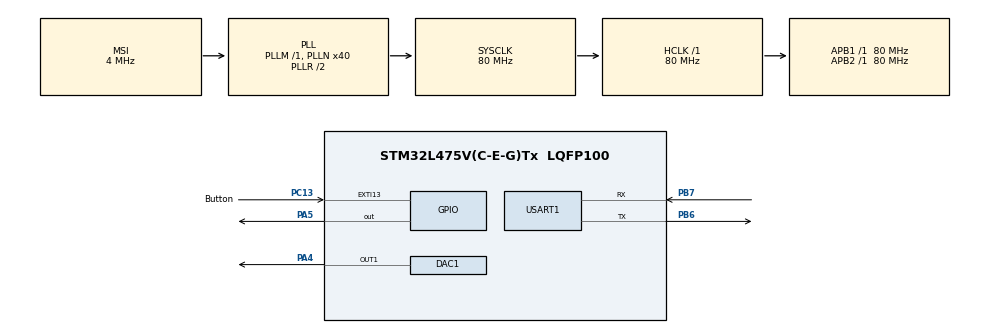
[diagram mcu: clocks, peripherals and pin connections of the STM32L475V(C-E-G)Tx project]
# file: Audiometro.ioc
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DAC1.DAC_Trigger-DAC_OUT1=DAC_TRIGGER_T4_TRGO
Dma.DAC_CH1.0.Direction=DMA_MEMORY_TO_PERIPH
Dma.DAC_CH1.0.Instance=DMA1_Channel3
Dma.DAC_CH1.0.MemDataAlignment=DMA_MDATAALIGN_HALFWORD
Dma.DAC_CH1.0.MemInc=DMA_MINC_ENABLE
Dma.DAC_CH1.0.Mode=DMA_CIRCULAR
Dma.DAC_CH1.0.PeriphDataAlignment=DMA_PDATAALIGN_HALFWORD
Dma.DAC_CH1.0.PeriphInc=DMA_PINC_DISABLE
Dma.DAC_CH1.0.Priority=DMA_PRIORITY_LOW
Dma.Request0=DAC_CH1
Mcu.Family=STM32L4
Mcu.Name=STM32L475V(C-E-G)Tx
Mcu.Package=LQFP100
NVIC.DMA1_Channel3_IRQn=true\:0\:0\:false\:false\:true\:false\:true\:true
NVIC.EXTI15_10_IRQn=true\:0\:0\:false\:false\:true\:true\:true\:true
NVIC.PriorityGroup=NVIC_PRIORITYGROUP_4
NVIC.TIM2_IRQn=true\:0\:0\:false\:false\:true\:true\:true\:true
PA4.Signal=COMP_DAC11_group
PA5.Signal=GPIO_Output
PB6.Mode=Asynchronous
PB6.Signal=USART1_TX
PB7.Mode=Asynchronous
PB7.Signal=USART1_RX
PC13.GPIO_Label=Button
PC13.GPIO_ModeDefaultEXTI=GPIO_MODE_IT_FALLING
PC13.GPIO_PuPd=GPIO_NOPULL
PC13.Signal=GPXTI13
ProjectManager.HeapSize=0x200
ProjectManager.StackSize=0x400
ProjectManager.TargetToolchain=STM32CubeIDE
RCC.ADCFreq_Value=48000000
RCC.AHBFreq_Value=80000000
RCC.APB1Freq_Value=80000000
RCC.APB1TimFreq_Value=80000000
RCC.APB2Freq_Value=80000000
RCC.APB2TimFreq_Value=80000000
RCC.CortexFreq_Value=80000000
RCC.HCLKFreq_Value=80000000
RCC.HSE_VALUE=8000000
RCC.HSI_VALUE=16000000
RCC.LSE_VALUE=32768
RCC.MSI_VALUE=4000000
RCC.PLLN=40
RCC.PLLSAI1N=24
RCC.SYSCLKFreq_VALUE=80000000
RCC.SYSCLKSource=RCC_SYSCLKSOURCE_PLLCLK
RCC.USBFreq_Value=48000000
RCC.VCOOutputFreq_Value=160000000
SH.COMP_DAC11_group.0=DAC1_OUT1,DAC_OUT1
TIM2.AutoReloadPreload=TIM_AUTORELOAD_PRELOAD_ENABLE
TIM2.Period=4999
TIM2.Prescaler=7999
TIM4.CounterMode=TIM_COUNTERMODE_UP
TIM4.TIM_MasterOutputTrigger=TIM_TRGO_UPDATE
USART1.VirtualMode-Asynchronous=VM_ASYNC
VP_TIM2_VS_ClockSourceINT.Mode=Internal
VP_TIM4_VS_ClockSourceINT.Mode=Internal
board=B-L475E-IOT01A2

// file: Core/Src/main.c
/* USER CODE BEGIN Header */
/**
  ******************************************************************************
  * @file    main.c
  * @brief   Audiometro base – B-L475E-IOT01A
  *
   * COME FUNZIONA (versione semplificata, due orecchie):
  *
  *  1. Viene generata una tabella (LUT) con i valori di una sinusoide.
  *  2. TIM4 scandisce la LUT tramite DMA → DAC → uscita analogica su PA4.
  *     Cambiando il periodo di TIM4 si cambia la frequenza del suono.
  *  3. TIM2 scatta ogni 100 ms e aumenta il volume (gain) poco alla volta.
   *  4. Quando l'utente sente il suono, preme il pulsante (PC13).
   *     Il valore di gain in quel momento viene salvato come risultato.
   *  5. Si passa alla frequenza successiva e si ripete.
   *  6. Terminato un orecchio, il test riparte sull'altro lato.
   *  7. Alla fine i risultati vengono inviati al PC via UART (115200 baud).
  *
  ******************************************************************************
  */
/* USER CODE END Header */
#include "main.h"

/* USER CODE BEGIN Includes */
#include <math.h>
#include <stdio.h>
#include <stdarg.h>
/* USER CODE END Includes */

/* USER CODE BEGIN PD */

/* --- Parametri principali --- */
#define N_SAMPLES    128     /* campioni nella LUT: più sono, più l'onda è precisa */
#define N_EARS       2       /* orecchie testate: sinistro + destro                  */
#define N_FREQ       11      /* numero di frequenze testate                        */
#define START_DBFS   -70.0f  /* livello base abbassato per accomodare le alte frequenze */
#define STEP_DBFS    0.5f    /* incremento ad ogni tick di TIM2 (dB)               */
#define MAX_DBFS     -20.0f  /* limite massimo per sicurezza/ascolto confortevole  */
#define PAUSE_TICKS  4       /* pausa tra frequenze (4 x 500ms = 2s)               */
#define USE_PC_AUDIO 1       /* 1 = audio generato da script Python su PC via UART */

/* USER CODE END PD */

DAC_HandleTypeDef hdac1;
DMA_HandleTypeDef hdma_dac_ch1;

TIM_HandleTypeDef htim2;
TIM_HandleTypeDef htim4;

UART_HandleTypeDef huart1;

/* USER CODE BEGIN PV */

/* Frequenze audiometriche standard in Hz */
static const float FREQ[N_FREQ] = {125, 250, 500, 750, 1000, 1500, 2000, 3000, 4000, 6000, 8000};
static const char EAR_LABEL[N_EARS] = {'L', 'R'};

/* Compensazione didattica del livello inziale per frequenza (dB)
  Adattate ai risultati misurati (circa 5 dB prima della soglia misurata):
  125:-35.5, 250:-48.5, 500:-54.5, 750:-59.0, 1000:-60.0
  1500:-60.5, 2000:-62.0, 3000:-61.5, 4000:-63.0, 6000:-61.5, 8000:-61.0 */
static const float START_OFFSET_DB[N_FREQ] = {
  +29.5f,  /* 125  Hz: soglia -35.5, start = -70 + 29.5 = -40.5 */
  +16.5f,  /* 250  Hz: soglia -48.5, start = -70 + 16.5 = -53.5 */
  +10.5f,  /* 500  Hz: soglia -54.5, start = -70 + 10.5 = -59.5 */
  +6.0f,   /* 750  Hz: soglia -59.0, start = -70 +  6.0 = -64.0 */
  +5.0f,   /* 1000 Hz: soglia -60.0, start = -70 +  5.0 = -65.0 */
  +4.5f,   /* 1500 Hz: soglia -60.5, start = -70 +  4.5 = -65.5 */
  +3.0f,   /* 2000 Hz: soglia -62.0, start = -70 +  3.0 = -67.0 */
  +3.5f,   /* 3000 Hz: soglia -61.5, start = -70 +  3.5 = -66.5 */
  +2.0f,   /* 4000 Hz: soglia -63.0, start = -70 +  2.0 = -68.0 */
  +3.5f,   /* 6000 Hz: soglia -61.5, start = -70 +  3.5 = -66.5 */
  +4.0f    /* 8000 Hz: soglia -61.0, start = -70 +  4.0 = -66.0 */
};

/* LUT: valori della sinusoide a piena scala (0..4095) */
static uint16_t lut[N_SAMPLES];

/* Buffer DMA: LUT scalata per il gain corrente.
   È diviso in due metà per il double-buffering (vedi callback DMA). */
static uint16_t dac_buf[2 * N_SAMPLES];

/* --- Stato del test --- */
static int   ear_idx      = 0;      /* orecchio corrente: 0=L, 1=R                     */
static int   freq_idx     = 0;      /* quale frequenza stiamo testando ora */
static float current_dbfs = START_DBFS;
static float gain         = 0.0f;
static int   pause_cnt    = 0;
static int   test_done    = 0;
static volatile uint8_t btn_pressed = 0;  /* settato dall'interrupt del pulsante */

/* Risultati: gain al momento della pressione, poi convertito in dBFS */
static float results[N_EARS][N_FREQ];

/* USER CODE END PV */

void SystemClock_Config(void);
static void MX_GPIO_Init(void);
static void MX_DMA_Init(void);
static void MX_TIM2_Init(void);
static void MX_DAC1_Init(void);
static void MX_USART1_UART_Init(void);
static void MX_TIM4_Init(void);
/* USER CODE BEGIN PFP */
static void build_lut(void);
static void fill_dac_buf(int half);
static void start_tone(float freq, char ear);
static void stop_tone(void);
static void send_results(void);
static void pc_audio_set_gain(float new_gain, char ear);
static void uart_send_line(const char *fmt, ...);
static float dbfs_to_gain(float dbfs);
static void set_level_for_current_freq(void);
static char current_ear(void);
/* USER CODE END PFP */

/* USER CODE BEGIN 0 */

/*
 * build_lut
 * Riempie la tabella con i valori di un'onda sinusoidale.
 * Formula: sample = (sin(angolo) + 1) / 2 * 4095
 *   → sposta il segnale da [-1,+1] a [0, 4095] (range del DAC a 12 bit)
 */
static void build_lut(void)
{
    for (int i = 0; i < N_SAMPLES; i++)
    {
        float angle = 2.0f * (float)M_PI * i / N_SAMPLES;
        lut[i] = (uint16_t)((sinf(angle) + 1.0f) * 2047.5f);
    }
}

static void uart_send_line(const char *fmt, ...)
{
  char line[96];
  va_list args;
  va_start(args, fmt);
  int len = vsnprintf(line, sizeof(line), fmt, args);
  va_end(args);

  if (len <= 0)
  {
    return;
  }

  if (len >= (int)sizeof(line))
  {
    len = (int)sizeof(line) - 1;
  }

  HAL_UART_Transmit(&huart1, (uint8_t *)line, len, HAL_MAX_DELAY);
}

static float dbfs_to_gain(float dbfs)
{
  float linear = powf(10.0f, dbfs / 20.0f);
  if (linear < 0.0f)
  {
    linear = 0.0f;
  }
  if (linear > 1.0f)
  {
    linear = 1.0f;
  }
  return linear;
}

static void set_level_for_current_freq(void)
{
  current_dbfs = START_DBFS + START_OFFSET_DB[freq_idx];
  if (current_dbfs > MAX_DBFS)
  {
    current_dbfs = MAX_DBFS;
  }
  gain = dbfs_to_gain(current_dbfs);
}

static char current_ear(void)
{
  return EAR_LABEL[ear_idx];
}

/*
 * fill_dac_buf
 * Copia una metà del buffer DMA moltiplicando ogni campione per il gain.
 * Il gain scala l'ampiezza: gain=1.0 → volume massimo, gain=0.05 → quasi zero.
 *
 * Il buffer è diviso in due metà perché mentre il DMA trasmette una metà,
 * la CPU aggiorna l'altra (double buffering → nessun rumore o salto nel suono).
 */
static void fill_dac_buf(int half)
{
    int offset = half * N_SAMPLES;
    for (int i = 0; i < N_SAMPLES; i++)
    {
        float val = lut[i] * gain;
        if (val > 4095.0f) val = 4095.0f;
        dac_buf[offset + i] = (uint16_t)val;
    }
}

/*
 * start_tone
 * Avvia la riproduzione di un tono alla frequenza richiesta.
 *
 * TIM4 genera un evento ogni (ARR+1) cicli di clock.
 * Ogni evento fa avanzare il DMA di un campione nella LUT.
 * Con N_SAMPLES campioni per periodo:
 *   f_audio = SystemCoreClock / (ARR+1) / N_SAMPLES
 * Quindi:  ARR = SystemCoreClock / (f_audio * N_SAMPLES) - 1
 */
static void start_tone(float freq, char ear)
{
#if USE_PC_AUDIO
  uart_send_line("AUDIO START %c %.1f %.3f\r\n", ear, freq, gain);
#else
    uint32_t arr = (uint32_t)(SystemCoreClock / (freq * N_SAMPLES)) - 1;
    __HAL_TIM_SET_AUTORELOAD(&htim4, arr);
    __HAL_TIM_SET_COUNTER(&htim4, 0);

    fill_dac_buf(0);
    fill_dac_buf(1);

    HAL_TIM_Base_Start(&htim4);
    HAL_DAC_Start_DMA(&hdac1, DAC_CHANNEL_1,
                      (uint32_t *)dac_buf, 2 * N_SAMPLES,
                      DAC_ALIGN_12B_R);
  #endif
}

/*
 * stop_tone
 * Ferma il DAC e TIM4.
 */
static void stop_tone(void)
{
#if USE_PC_AUDIO
  uart_send_line("AUDIO STOP\r\n");
#else
    HAL_DAC_Stop_DMA(&hdac1, DAC_CHANNEL_1);
    HAL_TIM_Base_Stop(&htim4);
#endif
}

static void pc_audio_set_gain(float new_gain, char ear)
{
#if USE_PC_AUDIO
  uart_send_line("AUDIO GAIN %c %.3f\r\n", ear, new_gain);
#else
  (void)new_gain;
#endif
}

/*
 * send_results
 * Invia i risultati via UART al PC (115200 baud).
 * Il valore in dBFS è negativo: più è vicino a 0, più l'utente ha bisogno
 * di un volume alto per sentire → udito peggiore a quella frequenza.
 */
static void send_results(void)
{
    char line[64];
  uart_send_line("AUDIO DONE\r\n");
    HAL_UART_Transmit(&huart1,
        (uint8_t *)"=== Risultati Audiometria ===\r\n", 31, HAL_MAX_DELAY);

  for (int e = 0; e < N_EARS; e++)
    {
    int len = snprintf(line, sizeof(line), "Orecchio %c\r\n", EAR_LABEL[e]);
    HAL_UART_Transmit(&huart1, (uint8_t *)line, len, HAL_MAX_DELAY);

    for (int i = 0; i < N_FREQ; i++)
    {
      len = snprintf(line, sizeof(line),
        "Freq %4.0f Hz → %.1f dBFS\r\n",
        FREQ[i], results[e][i]);
      HAL_UART_Transmit(&huart1, (uint8_t *)line, len, HAL_MAX_DELAY);
    }
    }
}

/* USER CODE END 0 */

int main(void)
{

  /* MCU Configuration--------------------------------------------------------*/

  /* Reset of all peripherals, Initializes the Flash interface and the Systick. */
  HAL_Init();

  /* Configure the system clock */
  SystemClock_Config();

  /* Initialize all configured peripherals */
  MX_GPIO_Init();
  MX_TIM2_Init();
  MX_USART1_UART_Init();
#if !USE_PC_AUDIO
  MX_DMA_Init();
  MX_DAC1_Init();
  MX_TIM4_Init();
#endif
  /* USER CODE BEGIN 2 */

    build_lut();
    set_level_for_current_freq();
    uart_send_line("AUDIO MODE PC\r\n");
    start_tone(FREQ[freq_idx], current_ear());
    HAL_TIM_Base_Start_IT(&htim2);  /* avvia il timer di controllo */

  /* USER CODE END 2 */

  /* Infinite loop */
    while (1)
    {

    /* USER CODE BEGIN 3 */
        if (test_done)
        {
            send_results();
            while (1);  /* fine test, CPU si ferma qui */
        }
    }
  /* USER CODE END 3 */
}

void SystemClock_Config(void)
{
  RCC_OscInitTypeDef RCC_OscInitStruct = {0};
  RCC_ClkInitTypeDef RCC_ClkInitStruct = {0};

  /** Configure the main internal regulator output voltage
  */
  if (HAL_PWREx_ControlVoltageScaling(PWR_REGULATOR_VOLTAGE_SCALE1) != HAL_OK)
  {
    Error_Handler();
  }

  /** Initializes the RCC Oscillators according to the specified parameters
  * in the RCC_OscInitTypeDef structure.
  */
  RCC_OscInitStruct.OscillatorType = RCC_OSCILLATORTYPE_MSI;
  RCC_OscInitStruct.MSIState = RCC_MSI_ON;
  RCC_OscInitStruct.MSICalibrationValue = 0;
  RCC_OscInitStruct.MSIClockRange = RCC_MSIRANGE_6;
  RCC_OscInitStruct.PLL.PLLState = RCC_PLL_ON;
  RCC_OscInitStruct.PLL.PLLSource = RCC_PLLSOURCE_MSI;
  RCC_OscInitStruct.PLL.PLLM = 1;
  RCC_OscInitStruct.PLL.PLLN = 40;
  RCC_OscInitStruct.PLL.PLLP = RCC_PLLP_DIV7;
  RCC_OscInitStruct.PLL.PLLQ = RCC_PLLQ_DIV2;
  RCC_OscInitStruct.PLL.PLLR = RCC_PLLR_DIV2;
  if (HAL_RCC_OscConfig(&RCC_OscInitStruct) != HAL_OK)
  {
    Error_Handler();
  }

  /** Initializes the CPU, AHB and APB buses clocks
  */
  RCC_ClkInitStruct.ClockType = RCC_CLOCKTYPE_HCLK|RCC_CLOCKTYPE_SYSCLK
                              |RCC_CLOCKTYPE_PCLK1|RCC_CLOCKTYPE_PCLK2;
  RCC_ClkInitStruct.SYSCLKSource = RCC_SYSCLKSOURCE_PLLCLK;
  RCC_ClkInitStruct.AHBCLKDivider = RCC_SYSCLK_DIV1;
  RCC_ClkInitStruct.APB1CLKDivider = RCC_HCLK_DIV1;
  RCC_ClkInitStruct.APB2CLKDivider = RCC_HCLK_DIV1;

  if (HAL_RCC_ClockConfig(&RCC_ClkInitStruct, FLASH_LATENCY_4) != HAL_OK)
  {
    Error_Handler();
  }
}

static void MX_DAC1_Init(void)
{

  DAC_ChannelConfTypeDef sConfig = {0};

  /** DAC Initialization
  */
  hdac1.Instance = DAC1;
  if (HAL_DAC_Init(&hdac1) != HAL_OK)
  {
    Error_Handler();
  }

  /** DAC channel OUT1 config
  */
  sConfig.DAC_SampleAndHold = DAC_SAMPLEANDHOLD_DISABLE;
  sConfig.DAC_Trigger = DAC_TRIGGER_T4_TRGO;
  sConfig.DAC_OutputBuffer = DAC_OUTPUTBUFFER_ENABLE;
  sConfig.DAC_ConnectOnChipPeripheral = DAC_CHIPCONNECT_DISABLE;
  sConfig.DAC_UserTrimming = DAC_TRIMMING_FACTORY;
  if (HAL_DAC_ConfigChannel(&hdac1, &sConfig, DAC_CHANNEL_1) != HAL_OK)
  {
    Error_Handler();
  }

}

static void MX_TIM2_Init(void)
{

  TIM_ClockConfigTypeDef sClockSourceConfig = {0};
  TIM_MasterConfigTypeDef sMasterConfig = {0};

  htim2.Instance = TIM2;
  htim2.Init.Prescaler = 7999;
  htim2.Init.CounterMode = TIM_COUNTERMODE_UP;
  htim2.Init.Period = 4999;
  htim2.Init.ClockDivision = TIM_CLOCKDIVISION_DIV1;
  htim2.Init.AutoReloadPreload = TIM_AUTORELOAD_PRELOAD_ENABLE;
  if (HAL_TIM_Base_Init(&htim2) != HAL_OK)
  {
    Error_Handler();
  }
  sClockSourceConfig.ClockSource = TIM_CLOCKSOURCE_INTERNAL;
  if (HAL_TIM_ConfigClockSource(&htim2, &sClockSourceConfig) != HAL_OK)
  {
    Error_Handler();
  }
  sMasterConfig.MasterOutputTrigger = TIM_TRGO_RESET;
  sMasterConfig.MasterSlaveMode = TIM_MASTERSLAVEMODE_DISABLE;
  if (HAL_TIMEx_MasterConfigSynchronization(&htim2, &sMasterConfig) != HAL_OK)
  {
    Error_Handler();
  }

}

static void MX_TIM4_Init(void)
{

  TIM_ClockConfigTypeDef sClockSourceConfig = {0};
  TIM_MasterConfigTypeDef sMasterConfig = {0};

  htim4.Instance = TIM4;
  htim4.Init.Prescaler = 0;
  htim4.Init.CounterMode = TIM_COUNTERMODE_UP;
  htim4.Init.Period = 65535;
  htim4.Init.ClockDivision = TIM_CLOCKDIVISION_DIV1;
  htim4.Init.AutoReloadPreload = TIM_AUTORELOAD_PRELOAD_DISABLE;
  if (HAL_TIM_Base_Init(&htim4) != HAL_OK)
  {
    Error_Handler();
  }
  sClockSourceConfig.ClockSource = TIM_CLOCKSOURCE_INTERNAL;
  if (HAL_TIM_ConfigClockSource(&htim4, &sClockSourceConfig) != HAL_OK)
  {
    Error_Handler();
  }
  sMasterConfig.MasterOutputTrigger = TIM_TRGO_UPDATE;
  sMasterConfig.MasterSlaveMode = TIM_MASTERSLAVEMODE_DISABLE;
  if (HAL_TIMEx_MasterConfigSynchronization(&htim4, &sMasterConfig) != HAL_OK)
  {
    Error_Handler();
  }

}

static void MX_USART1_UART_Init(void)
{

  huart1.Instance = USART1;
  huart1.Init.BaudRate = 115200;
  huart1.Init.WordLength = UART_WORDLENGTH_8B;
  huart1.Init.StopBits = UART_STOPBITS_1;
  huart1.Init.Parity = UART_PARITY_NONE;
  huart1.Init.Mode = UART_MODE_TX_RX;
  huart1.Init.HwFlowCtl = UART_HWCONTROL_NONE;
  huart1.Init.OverSampling = UART_OVERSAMPLING_16;
  huart1.Init.OneBitSampling = UART_ONE_BIT_SAMPLE_DISABLE;
  huart1.AdvancedInit.AdvFeatureInit = UART_ADVFEATURE_NO_INIT;
  if (HAL_UART_Init(&huart1) != HAL_OK)
  {
    Error_Handler();
  }

}

static void MX_DMA_Init(void)
{

  /* DMA controller clock enable */
  __HAL_RCC_DMA1_CLK_ENABLE();

  /* DMA interrupt init */
  /* DMA1_Channel3_IRQn interrupt configuration */
  HAL_NVIC_SetPriority(DMA1_Channel3_IRQn, 0, 0);
  HAL_NVIC_EnableIRQ(DMA1_Channel3_IRQn);

}

static void MX_GPIO_Init(void)
{
  GPIO_InitTypeDef GPIO_InitStruct = {0};

  /* GPIO Ports Clock Enable */
  __HAL_RCC_GPIOC_CLK_ENABLE();
  __HAL_RCC_GPIOA_CLK_ENABLE();
  __HAL_RCC_GPIOB_CLK_ENABLE();

  /*Configure GPIO pin Output Level */
  HAL_GPIO_WritePin(GPIOA, GPIO_PIN_5, GPIO_PIN_RESET);

  /*Configure GPIO pin : Button_Pin */
  GPIO_InitStruct.Pin = Button_Pin;
  GPIO_InitStruct.Mode = GPIO_MODE_IT_FALLING;
  GPIO_InitStruct.Pull = GPIO_NOPULL;
  HAL_GPIO_Init(Button_GPIO_Port, &GPIO_InitStruct);

  /*Configure GPIO pin : PA5 */
  GPIO_InitStruct.Pin = GPIO_PIN_5;
  GPIO_InitStruct.Mode = GPIO_MODE_OUTPUT_PP;
  GPIO_InitStruct.Pull = GPIO_NOPULL;
  GPIO_InitStruct.Speed = GPIO_SPEED_FREQ_LOW;
  HAL_GPIO_Init(GPIOA, &GPIO_InitStruct);

  /* EXTI interrupt init*/
  HAL_NVIC_SetPriority(EXTI15_10_IRQn, 0, 0);
  HAL_NVIC_EnableIRQ(EXTI15_10_IRQn);

}

/* USER CODE BEGIN 4 */
/* all'inizio del callback, dentro USER CODE BEGIN 4 */
/*
 * HAL_TIM_PeriodElapsedCallback  –  chiamata ogni 500ms da TIM2
 *
 * Gestisce tre situazioni:
 *  1. Pulsante premuto → salva il risultato, avvia la pausa
 *  2. Gain arrivato al massimo senza risposta → frequenza non sentita
 *  3. Pausa terminata → passa alla frequenza successiva
 */
void HAL_TIM_PeriodElapsedCallback(TIM_HandleTypeDef *htim)
{
    if (htim != &htim2) return;
    HAL_GPIO_TogglePin(GPIOA, GPIO_PIN_5);
    /* --- caso 1 e 2: il tono è in riproduzione --- */
    if (!test_done && pause_cnt == 0)
    {
        if (btn_pressed)
        {
            /* L'utente ha sentito il suono: salva gain come dBFS */
          results[ear_idx][freq_idx] = current_dbfs;
            stop_tone();
            btn_pressed = 0;
            pause_cnt   = 1;  /* inizia la pausa */
        }
        else
        {
            /* Nessuna risposta: aumenta il livello con step costante in dB */
            current_dbfs += STEP_DBFS;

            if (current_dbfs >= MAX_DBFS)
            {
                /* Frequenza non percepita */
                results[ear_idx][freq_idx] = -100.0f;
                stop_tone();
                pause_cnt = 1;
            }
            else
            {
              gain = dbfs_to_gain(current_dbfs);
              pc_audio_set_gain(gain, current_ear());
            }
        }
    }
    /* --- caso 3: pausa silenziosa tra frequenze --- */
    else if (pause_cnt > 0)
    {
        pause_cnt++;
        if (pause_cnt > PAUSE_TICKS)
        {
            pause_cnt = 0;
            freq_idx++;

            if (freq_idx >= N_FREQ)
            {
            ear_idx++;
            if (ear_idx >= N_EARS)
            {
              test_done = 1;  /* tutte le frequenze completate per entrambi gli orecchi */
            }
            else
            {
              freq_idx = 0;
              set_level_for_current_freq();
              start_tone(FREQ[freq_idx], current_ear());
            }
            }
            else
            {
            set_level_for_current_freq();
            start_tone(FREQ[freq_idx], current_ear());
            }
        }
    }
}

/* DMA ha trasmesso la prima metà → aggiornala per il ciclo successivo */
void HAL_DAC_ConvHalfCpltCallbackCh1(DAC_HandleTypeDef *hdac)
{
#if !USE_PC_AUDIO
    fill_dac_buf(0);
#else
  (void)hdac;
#endif
}

/* DMA ha trasmesso la seconda metà → aggiornala per il ciclo successivo */
void HAL_DAC_ConvCpltCallbackCh1(DAC_HandleTypeDef *hdac)
{
#if !USE_PC_AUDIO
    fill_dac_buf(1);
#else
  (void)hdac;
#endif
}

/* Interrupt del pulsante (PC13, falling edge) → imposta solo il flag */
void HAL_GPIO_EXTI_Callback(uint16_t GPIO_Pin)
{
    if (GPIO_Pin == Button_Pin)
        btn_pressed = 1;
}

/* USER CODE END 4 */

void Error_Handler(void)
{
  __disable_irq();
  while (1)
  {
  }
}
